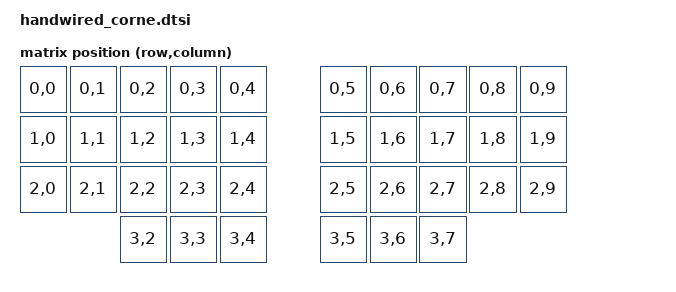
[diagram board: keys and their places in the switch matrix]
/*
 * Handwired 5-column Corne. 4x5 matrix per half (3 alpha rows + a thumb row
 * using 3 of the 5 columns), col2row, nice!nano v2 per half over BLE.
 *
 * The physical layout is borrowed from ZMK's Corne: foostan_corne_5col_layout
 * is exactly 3x5+3 per half, and its key order matches zmk-helpers' 36.h, so
 * config/handwired_corne.keymap needs no adapter. Only the matrix transform
 * below is specific to this board.
 *
 *  LEFT                                RIGHT
 *  cols L->R: P1.13 P1.00 P0.11        cols L->R: P0.10 P1.11 P1.13
 *             P1.04 P1.06                         P1.06 P0.24
 *  rows T->B: P1.11 P0.10 P0.09 P1.15  rows T->B: P1.00 P0.11 P1.04 P0.09
 *
 * Thumbs hang off the column above them: left thumbs occupy columns 2..4
 * (so the innermost thumb shares the T/G/B column), right thumbs columns 0..2
 * (innermost shares the Y/H/N column).
 */

#include <dt-bindings/zmk/matrix_transform.h>

#include <layouts/foostan/corne/5column.dtsi>

&foostan_corne_5col_layout {
    transform = <&default_transform>;
};

/ {
    chosen {
        zmk,kscan = &kscan0;
        zmk,physical-layout = &foostan_corne_5col_layout;
    };

    // Left half occupies columns 0-4; the right half's overlay sets
    // col-offset = <5> so its local columns 0-4 land on 5-9.
    default_transform: keymap_transform_0 {
        compatible = "zmk,matrix-transform";
        columns = <10>;
        rows = <4>;
// |  Q  |  W  |  E  |  R  |  T  |   |  Y  |  U  |  I  |  O  |  P  |
// |  A  |  S  |  D  |  F  |  G  |   |  H  |  J  |  K  |  L  |  ;  |
// |  Z  |  X  |  C  |  V  |  B  |   |  N  |  M  |  ,  |  .  |  /  |
//             | l2  | l1  | l0  |   | r0  | r1  | r2  |
        map = <
RC(0,0) RC(0,1) RC(0,2) RC(0,3) RC(0,4)  RC(0,5) RC(0,6) RC(0,7) RC(0,8) RC(0,9)
RC(1,0) RC(1,1) RC(1,2) RC(1,3) RC(1,4)  RC(1,5) RC(1,6) RC(1,7) RC(1,8) RC(1,9)
RC(2,0) RC(2,1) RC(2,2) RC(2,3) RC(2,4)  RC(2,5) RC(2,6) RC(2,7) RC(2,8) RC(2,9)
                RC(3,2) RC(3,3) RC(3,4)  RC(3,5) RC(3,6) RC(3,7)
        >;
    };

    // row-gpios and col-gpios differ between the halves, so both are set in
    // handwired_corne_left.overlay / handwired_corne_right.overlay.
    kscan0: kscan {
        compatible = "zmk,kscan-gpio-matrix";
        wakeup-source;

        diode-direction = "col2row";
    };
};
